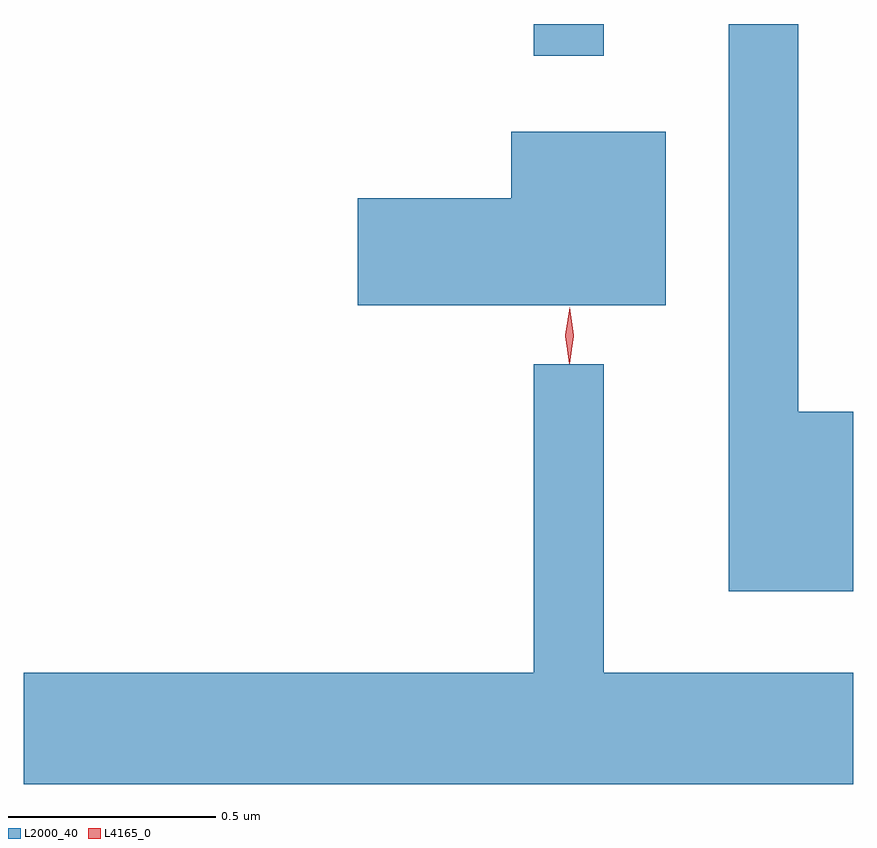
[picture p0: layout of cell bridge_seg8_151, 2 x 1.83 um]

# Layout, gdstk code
import gdstk
lib = gdstk.Library(unit=1e-6, precision=1e-09)
def R(c, l, rs):  # rectangles x0, y0, x1, y1
    for r in rs: c.add(gdstk.rectangle(r[:2], r[2:], *l))
def P(c, l, *ps):  # polygons
    for p in ps: c.add(gdstk.Polygon(p, *l))
L2000_40 = (2000, 40)
L4165_0 = (4165, 0)

bridge_seg8_151 = lib.new_cell('bridge_seg8_151')
R(bridge_seg8_151, L2000_40, [(1681.291,1853.713,1681.459,1853.789)])
P(bridge_seg8_151, L2000_40, [(1682.061,1852.854),(1681.929,1852.854),(1681.929,1853.789),(1681.761,1853.789),(1681.761,1852.421),(1682.061,1852.421)],
  [(1681.609,1853.529),(1681.236,1853.529),(1681.236,1853.369),(1680.866,1853.369),(1680.866,1853.111),(1681.609,1853.111)],
  [(1682.061,1852.224),(1681.459,1852.224),(1681.459,1852.968),(1681.291,1852.968),(1681.291,1852.224),(1680.061,1852.224),(1680.061,1851.956),(1682.061,1851.956)])
P(bridge_seg8_151, L4165_0, [(1681.376,1852.973),(1681.376,1852.973),(1681.367,1853.036),(1681.377,1853.099),(1681.378,1853.1),(1681.378,1853.099),(1681.387,1853.036),(1681.377,1852.973)],
  [(1681.376,1852.97),(1681.376,1852.97),(1681.367,1853.038),(1681.377,1853.106),(1681.378,1853.106),(1681.378,1853.106),(1681.387,1853.038),(1681.377,1852.97)])

lib.write_gds('bridge_seg8_151.gds')
